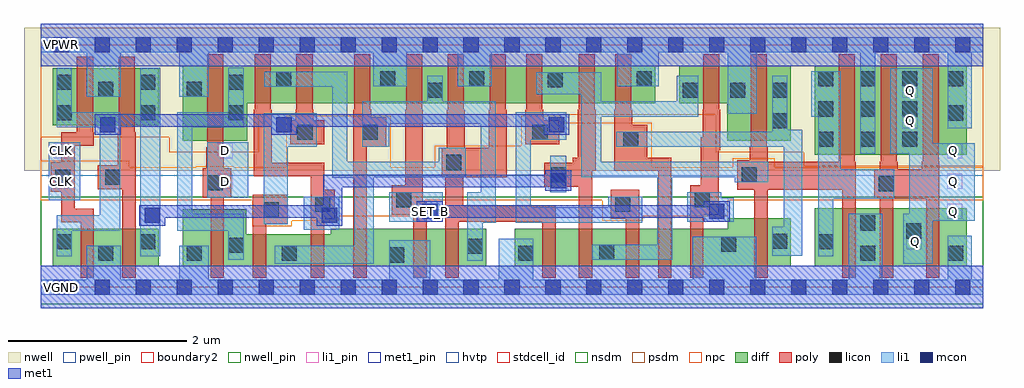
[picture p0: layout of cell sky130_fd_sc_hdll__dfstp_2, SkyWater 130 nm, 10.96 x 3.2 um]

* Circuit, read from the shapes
.subckt sky130_fd_sc_hdll__dfstp_2 CLK D Q SET_B VGND VNB VPB VPWR
XM1 VGND CLK n1 VNB sky130_fd_pr__nfet_01v8 w=0.42 l=0.15
XM2 n2 n1 VGND VNB sky130_fd_pr__nfet_01v8 w=0.42 l=0.15
XM3 n3 D VGND VNB sky130_fd_pr__nfet_01v8 w=0.64 l=0.15
XM4 n4 n1 n3 VNB sky130_fd_pr__nfet_01v8 w=0.36 l=0.15
XM5 n5 n2 n4 VNB sky130_fd_pr__nfet_01v8 w=0.36 l=0.15
XM6 VGND n6 n5 VNB sky130_fd_pr__nfet_01v8 w=0.42 l=0.15
XM7 n7 SET_B VGND VNB sky130_fd_pr__nfet_01v8 w=0.42 l=0.15
XM8 n6 n4 n7 VNB sky130_fd_pr__nfet_01v8 w=0.42 l=0.15
XM9 n8 n4 VGND VNB sky130_fd_pr__nfet_01v8 w=0.42 l=0.15
XM10 n9 n2 n8 VNB sky130_fd_pr__nfet_01v8 w=0.42 l=0.15
XM11 n10 n1 n9 VNB sky130_fd_pr__nfet_01v8 w=0.42 l=0.15
XM12 n11 n12 n10 VNB sky130_fd_pr__nfet_01v8 w=0.42 l=0.15
XM13 VGND SET_B n11 VNB sky130_fd_pr__nfet_01v8 w=0.42 l=0.15
XM14 n12 n9 VGND VNB sky130_fd_pr__nfet_01v8 w=0.54 l=0.15
XM15 VGND n9 n13 VNB sky130_fd_pr__nfet_01v8 w=0.65 l=0.15
XM16 Q n13 VGND VNB sky130_fd_pr__nfet_01v8 w=0.65 l=0.15 m=2
XM17 VPWR CLK n1 VPB sky130_fd_pr__pfet_01v8_hvt w=0.64 l=0.18
XM18 n2 n1 VPWR VPB sky130_fd_pr__pfet_01v8_hvt w=0.64 l=0.18
XM19 n3 D VPWR VPB sky130_fd_pr__pfet_01v8_hvt w=0.84 l=0.18
XM20 n4 n2 n3 VPB sky130_fd_pr__pfet_01v8_hvt w=0.42 l=0.18
XM21 n14 n1 n4 VPB sky130_fd_pr__pfet_01v8_hvt w=0.42 l=0.18
XM22 VPWR n6 n14 VPB sky130_fd_pr__pfet_01v8_hvt w=0.42 l=0.18
XM23 n6 SET_B VPWR VPB sky130_fd_pr__pfet_01v8_hvt w=0.42 l=0.18
XM24 VPWR n4 n6 VPB sky130_fd_pr__pfet_01v8_hvt w=0.42 l=0.18
XM25 n15 n4 VPWR VPB sky130_fd_pr__pfet_01v8_hvt w=0.42 l=0.18
XM26 n9 n1 n15 VPB sky130_fd_pr__pfet_01v8_hvt w=0.42 l=0.18
XM27 n16 n2 n9 VPB sky130_fd_pr__pfet_01v8_hvt w=0.42 l=0.18
XM28 VPWR n12 n16 VPB sky130_fd_pr__pfet_01v8_hvt w=0.42 l=0.18
XM29 VPWR SET_B n9 VPB sky130_fd_pr__pfet_01v8_hvt w=0.42 l=0.18
XM30 n12 n9 VPWR VPB sky130_fd_pr__pfet_01v8_hvt w=0.84 l=0.18
XM31 VPWR n9 n13 VPB sky130_fd_pr__pfet_01v8_hvt w=1 l=0.18
XM32 Q n13 VPWR VPB sky130_fd_pr__pfet_01v8_hvt w=1 l=0.18 m=2
.ends

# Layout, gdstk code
import gdstk
lib = gdstk.Library(unit=1e-6, precision=1e-09)
def R(c, l, rs):  # rectangles x0, y0, x1, y1
    for r in rs: c.add(gdstk.rectangle(r[:2], r[2:], *l))
def A(c, l, x, y, w, h, nx, ny, dx, dy):  # array of equal rectangles
    R(c, l, [(x+i*dx, y+j*dy, x+i*dx+w, y+j*dy+h) for i in range(nx) for j in range(ny)])
def P(c, l, *ps):  # polygons
    for p in ps: c.add(gdstk.Polygon(p, *l))
nwell_pin = (64, 16)
nwell = (64, 20)
diff = (65, 20)
poly = (66, 20)
licon = (66, 44)
li1_pin = (67, 16)
li1 = (67, 20)
mcon = (67, 44)
met1_pin = (68, 16)
met1 = (68, 20)
hvtp = (78, 44)
stdcell_id = (81, 4)
nsdm = (93, 44)
psdm = (94, 20)
npc = (95, 20)
pwell_pin = (122, 16)
boundary2 = (236, 0)

sky130_fd_sc_hdll__dfstp = lib.new_cell('sky130_fd_sc_hdll__dfstp_2')
R(sky130_fd_sc_hdll__dfstp, nwell_pin, [(0.145,2.635,0.315,2.805), (0.145,2.635,0.315,2.805)])
R(sky130_fd_sc_hdll__dfstp, nwell, [(-0.19,1.305,10.77,2.91)])
R(sky130_fd_sc_hdll__dfstp, diff, [(0.135,0.235,1.325,0.655), (8.69,0.235,10.395,0.885), (8.69,1.485,10.395,2.485), (0.135,1.815,1.325,2.455)])
P(sky130_fd_sc_hdll__dfstp, diff, [(8.42,0.775),(7.71,0.775),(7.71,0.655),(5.32,0.655),(5.32,0.235),(8.42,0.235)],
  [(8.42,2.485),(7.17,2.485),(7.17,2.065),(7.705,2.065),(7.705,1.645),(8.42,1.645)],
  [(6.9,2.485),(1.595,2.485),(1.595,1.645),(2.315,1.645),(2.315,2.065),(6.9,2.065)],
  [(5,0.655),(3.255,0.655),(3.255,0.595),(2.305,0.595),(2.305,0.875),(1.595,0.875),(1.595,0.235),(5,0.235)])
P(sky130_fd_sc_hdll__dfstp, poly, [(0.595,1.74),(0.585,1.74),(0.585,2.585),(0.405,2.585),(0.405,1.74),(0.23,1.74),(0.23,1.4),(0.11,1.4),(0.11,1.07),(0.23,1.07),(0.23,0.73),(0.445,0.73),(0.445,0.105),(0.595,0.105),(0.595,0.88),(0.38,0.88),(0.38,1.59),(0.595,1.59)],
  [(1.065,1.74),(1.055,1.74),(1.055,2.585),(0.875,2.585),(0.875,1.74),(0.865,1.74),(0.865,1.37),(0.64,1.37),(0.64,1.1),(0.915,1.1),(0.915,0.105),(1.065,0.105)],
  [(2.14,1.335),(2.055,1.335),(2.055,1.57),(2.045,1.57),(2.045,2.615),(1.865,2.615),(1.865,1.57),(1.855,1.57),(1.855,1.335),(1.82,1.335),(1.82,1.005),(1.905,1.005),(1.905,0.105),(2.055,0.105),(2.055,1.005),(2.14,1.005)],
  [(2.77,1.035),(2.38,1.035),(2.38,0.105),(2.53,0.105),(2.53,0.705),(2.77,0.705)],
  [(3.18,1.875),(3.06,1.875),(3.06,1.99),(3.05,1.99),(3.05,2.615),(2.87,2.615),(2.87,1.99),(2.86,1.99),(2.86,1.875),(2.8,1.875),(2.8,1.605),(3.18,1.605)],
  [(3.3,1.095),(3.18,1.095),(3.18,1.395),(2.59,1.395),(2.59,1.99),(2.58,1.99),(2.58,2.615),(2.4,2.615),(2.4,1.99),(2.39,1.99),(2.39,1.245),(3.03,1.245),(3.03,0.105),(3.18,0.105),(3.18,0.765),(3.3,0.765)],
  [(3.88,1.905),(3.71,1.905),(3.71,1.99),(3.7,1.99),(3.7,2.615),(3.52,2.615),(3.52,1.99),(3.51,1.99),(3.51,0.105),(3.66,0.105),(3.66,1.575),(3.88,1.575)],
  [(4.33,0.965),(4.29,0.965),(4.29,1.99),(4.28,1.99),(4.28,2.615),(4.1,2.615),(4.1,1.99),(4.09,1.99),(4.09,1.145),(3.94,1.145),(3.94,0.815),(4.18,0.815),(4.18,0.105),(4.33,0.105)],
  [(5.78,0.915),(4.74,0.915),(4.74,1.235),(5.23,1.235),(5.23,1.99),(5.22,1.99),(5.22,2.615),(5.04,2.615),(5.04,1.99),(5.03,1.99),(5.03,1.565),(4.76,1.565),(4.76,1.99),(4.75,1.99),(4.75,2.615),(4.57,2.615),(4.57,1.99),(4.56,1.99),(4.56,1.565),(4.5,1.565),(4.5,1.235),(4.54,1.235),(4.54,0.105),(4.69,0.105),(4.69,0.735),(5.63,0.735),(5.63,0.105),(5.78,0.105)],
  [(5.82,1.875),(5.64,1.875),(5.64,1.99),(5.63,1.99),(5.63,2.615),(5.45,2.615),(5.45,1.99),(5.44,1.99),(5.44,1.605),(5.82,1.605)],
  [(6.23,1.99),(6.22,1.99),(6.22,2.615),(6.04,2.615),(6.04,1.99),(6.03,1.99),(6.03,1.455),(5.97,1.455),(5.97,1.395),(5.65,1.395),(5.65,1.125),(6.04,1.125),(6.04,0.105),(6.19,0.105),(6.19,1.305),(6.23,1.305)],
  [(6.72,1.095),(6.4,1.095),(6.4,0.765),(6.57,0.765),(6.57,0.105),(6.72,0.105)],
  [(7.08,1.455),(6.81,1.455),(6.81,1.825),(6.64,1.825),(6.64,1.99),(6.63,1.99),(6.63,2.615),(6.45,2.615),(6.45,1.99),(6.44,1.99),(6.44,1.305),(6.93,1.305),(6.93,0.105),(7.08,0.105)],
  [(7.63,1.99),(7.62,1.99),(7.62,2.615),(7.44,2.615),(7.44,1.99),(7.43,1.99),(7.43,1.685),(7.41,1.685),(7.41,1.145),(7.29,1.145),(7.29,0.105),(7.44,0.105),(7.44,0.815),(7.61,0.815),(7.61,1.535),(7.63,1.535)],
  [(9.15,1.41),(9.14,1.41),(9.14,2.615),(8.96,2.615),(8.96,1.41),(8.16,1.41),(8.16,1.57),(8.15,1.57),(8.15,2.615),(7.97,2.615),(7.97,1.57),(7.96,1.57),(7.96,1.425),(7.82,1.425),(7.82,1.095),(8.01,1.095),(8.01,0.105),(8.16,0.105),(8.16,1.095),(9,1.095),(9,0.105),(9.15,0.105)],
  [(10.09,1.41),(10.08,1.41),(10.08,2.615),(9.9,2.615),(9.9,1.41),(9.89,1.41),(9.89,1.325),(9.62,1.325),(9.62,1.41),(9.61,1.41),(9.61,2.615),(9.43,2.615),(9.43,1.41),(9.42,1.41),(9.42,1.325),(9.36,1.325),(9.36,0.995),(9.42,0.995),(9.42,0.105),(9.57,0.105),(9.57,0.995),(9.94,0.995),(9.94,0.105),(10.09,0.105)])
A(sky130_fd_sc_hdll__dfstp, licon, 8.73, 1.575, 0.17, 0.17, 3, 3, 0.47, 0.34)
R(sky130_fd_sc_hdll__dfstp, licon, [(3.91,0.275,4.08,0.445), (0.645,0.295,0.815,0.465), (1.635,0.295,1.805,0.465), (2.705,0.295,2.875,0.465), (5.36,0.295,5.53,0.465), (9.2,0.295,9.37,0.465), (10.185,0.295,10.355,0.465), (6.27,0.305,6.44,0.475), (4.79,0.375,4.96,0.545), (2.105,0.385,2.275,0.555), (7.64,0.395,7.81,0.565), (0.175,0.425,0.345,0.595), (1.115,0.425,1.285,0.595), (8.73,0.425,8.9,0.595), (8.21,0.43,8.38,0.6), (9.715,0.545,9.885,0.715), (9.2,0.635,9.37,0.805), (2.5,0.785,2.67,0.955), (3.08,0.845,3.25,1.015), (6.45,0.845,6.62,1.015), (3.99,0.895,4.16,1.065), (7.34,0.895,7.51,1.065), (9.41,1.075,9.58,1.245), (1.87,1.085,2.04,1.255), (0.16,1.15,0.33,1.32), (0.72,1.15,0.89,1.32), (5.73,1.175,5.9,1.345), (7.87,1.175,8.04,1.345), (4.55,1.315,4.72,1.485), (6.54,1.575,6.71,1.745), (2.88,1.655,3.05,1.825), (3.61,1.655,3.78,1.825), (5.52,1.655,5.69,1.825), (8.21,1.785,8.38,1.955), (10.185,1.87,10.355,2.04), (0.175,1.875,0.345,2.045), (1.115,1.875,1.285,2.045), (2.105,1.875,2.275,2.045), (4.34,2.125,4.51,2.295), (7.21,2.125,7.38,2.295), (7.74,2.125,7.91,2.295), (8.21,2.125,8.38,2.295), (0.645,2.135,0.815,2.305), (1.635,2.135,1.805,2.305), (0.175,2.215,0.345,2.385), (1.115,2.215,1.285,2.385), (2.105,2.215,2.275,2.385), (5.69,2.245,5.86,2.415), (2.64,2.25,2.81,2.42), (3.81,2.255,3.98,2.425), (4.81,2.255,4.98,2.425), (6.69,2.255,6.86,2.425), (10.185,2.255,10.355,2.425)])
A(sky130_fd_sc_hdll__dfstp, li1_pin, 10.175, 0.765, 0.17, 0.17, 1, 3, 0, 0.34)
R(sky130_fd_sc_hdll__dfstp, li1_pin, [(0.145,-0.085,0.315,0.085), (9.72,0.425,9.89,0.595), (0.145,1.105,0.315,1.275), (1.985,1.105,2.155,1.275), (0.145,1.445,0.315,1.615), (1.985,1.445,2.155,1.615), (9.675,1.785,9.845,1.955), (9.675,2.125,9.845,2.295), (0.145,2.635,0.315,2.805)])
R(sky130_fd_sc_hdll__dfstp, li1, [(1.115,0.345,1.34,2.465), (2.95,0.645,3.35,1.015), (3.91,0.735,4.51,1.065), (0.09,0.975,0.44,1.625), (1.87,1.005,2.33,1.625), (5.72,1.065,5.9,1.475)])
P(sky130_fd_sc_hdll__dfstp, li1, [(9.58,1.325),(8.98,1.325),(8.98,2.425),(8.65,2.425),(8.65,1.915),(8.73,1.915),(8.73,0.345),(8.9,0.345),(8.9,0.995),(9.58,0.995)],
  [(10.485,1.615),(10.015,1.615),(10.015,2.46),(9.54,2.46),(9.54,1.495),(9.75,1.495),(9.75,0.825),(9.685,0.825),(9.685,0.265),(10.015,0.265),(10.015,0.745),(10.485,0.745)],
  [(0.89,1.965),(0.345,1.965),(0.345,2.465),(0.175,2.465),(0.175,1.795),(0.66,1.795),(0.66,0.805),(0.175,0.805),(0.175,0.345),(0.345,0.345),(0.345,0.635),(0.89,0.635)],
  [(8.55,1.765),(8.38,1.765),(8.38,2.375),(8.21,2.375),(8.21,1.745),(6.46,1.745),(6.46,1.575),(8.34,1.575),(8.34,0.68),(8.21,0.68),(8.21,0.35),(8.55,0.35)],
  [(8.17,1.405),(6.29,1.405),(6.29,1.915),(7.38,1.915),(7.38,2.375),(7.14,2.375),(7.14,2.085),(6.29,2.085),(6.29,2.415),(5.56,2.415),(5.56,2.165),(6.07,2.165),(6.07,1.235),(6.92,1.235),(6.92,0.475),(6.19,0.475),(6.19,0.305),(7.09,0.305),(7.09,1.235),(7.79,1.235),(7.79,1.175),(8.17,1.175)],
  [(7.78,1.005),(7.64,1.005),(7.64,1.065),(7.26,1.065),(7.26,0.735),(7.78,0.735)],
  [(6.75,1.015),(6.37,1.015),(6.37,0.895),(5.5,0.895),(5.5,1.655),(5.9,1.655),(5.9,1.965),(5.33,1.965),(5.33,0.725),(6.75,0.725)],
  [(5.11,2.085),(4.51,2.085),(4.51,2.375),(4.34,2.375),(4.34,2.085),(3.61,2.085),(3.61,1.575),(3.91,1.575),(3.91,1.835),(4.94,1.835),(4.94,1.065),(4.79,1.065),(4.79,0.295),(4.96,0.295),(4.96,0.725),(5.11,0.725)],
  [(4.77,1.565),(4.47,1.565),(4.47,1.405),(3.44,1.405),(3.44,2.42),(2.51,2.42),(2.51,2.25),(3.27,2.25),(3.27,1.23),(3.52,1.23),(3.52,0.465),(2.625,0.465),(2.625,0.265),(3.74,0.265),(3.74,1.235),(4.77,1.235)],
  [(3.1,1.955),(2.5,1.955),(2.5,0.705),(2.77,0.705),(2.77,1.575),(3.1,1.575)],
  [(2.275,0.825),(1.7,0.825),(1.7,1.795),(2.275,1.795),(2.275,2.465),(2.105,2.465),(2.105,1.965),(1.53,1.965),(1.53,0.635),(2.105,0.635),(2.105,0.305),(2.275,0.305)],
  [(10.58,0.085),(10.45,0.085),(10.45,0.575),(10.185,0.575),(10.185,0.085),(9.45,0.085),(9.45,0.825),(9.07,0.825),(9.07,0.085),(8.03,0.085),(8.03,0.565),(7.32,0.565),(7.32,0.085),(5.53,0.085),(5.53,0.545),(5.14,0.545),(5.14,0.085),(4.37,0.085),(4.37,0.525),(3.91,0.525),(3.91,0.085),(1.885,0.085),(1.885,0.465),(1.555,0.465),(1.555,0.085),(0.895,0.085),(0.895,0.465),(0.515,0.465),(0.515,0.085),(0,0.085),(0,-0.085),(10.58,-0.085)],
  [(10.58,2.805),(0,2.805),(0,2.635),(0.515,2.635),(0.515,2.135),(0.895,2.135),(0.895,2.635),(1.555,2.635),(1.555,2.135),(1.885,2.135),(1.885,2.635),(3.73,2.635),(3.73,2.255),(4.11,2.255),(4.11,2.635),(4.68,2.635),(4.68,2.255),(5.06,2.255),(5.06,2.635),(6.47,2.635),(6.47,2.255),(6.94,2.255),(6.94,2.635),(7.71,2.635),(7.71,1.945),(8.04,1.945),(8.04,2.635),(9.2,2.635),(9.2,1.495),(9.37,1.495),(9.37,2.635),(10.185,2.635),(10.185,1.785),(10.45,1.785),(10.45,2.635),(10.58,2.635)])
A(sky130_fd_sc_hdll__dfstp, mcon, 0.145, -0.085, 0.17, 0.17, 23, 2, 0.46, 2.72)
R(sky130_fd_sc_hdll__dfstp, mcon, [(1.165,0.72,1.335,0.89), (3.155,0.72,3.325,0.89), (4.28,0.765,4.45,0.935), (7.505,0.765,7.675,0.935), (5.725,1.11,5.895,1.28), (0.665,1.74,0.835,1.91), (2.645,1.74,2.815,1.91), (5.705,1.74,5.875,1.91)])
R(sky130_fd_sc_hdll__dfstp, met1_pin, [(0.145,-0.085,0.315,0.085), (4.285,0.765,4.455,0.935), (0.145,2.635,0.315,2.805)])
R(sky130_fd_sc_hdll__dfstp, met1, [(0,-0.24,10.58,0.24), (0,2.48,10.58,2.96)])
P(sky130_fd_sc_hdll__dfstp, met1, [(7.735,0.965),(7.445,0.965),(7.445,0.92),(4.51,0.92),(4.51,0.965),(4.22,0.965),(4.22,0.735),(4.51,0.735),(4.51,0.78),(7.445,0.78),(7.445,0.735),(7.735,0.735)],
  [(5.935,1.94),(0.605,1.94),(0.605,1.71),(0.895,1.71),(0.895,1.8),(2.585,1.8),(2.585,1.71),(2.875,1.71),(2.875,1.8),(5.645,1.8),(5.645,1.71),(5.935,1.71)],
  [(5.955,1.31),(5.665,1.31),(5.665,1.26),(3.17,1.26),(3.17,0.92),(1.105,0.92),(1.105,0.69),(1.395,0.69),(1.395,0.78),(3.095,0.78),(3.095,0.69),(3.385,0.69),(3.385,1.12),(5.665,1.12),(5.665,1.08),(5.955,1.08)])
R(sky130_fd_sc_hdll__dfstp, hvtp, [(0,1.25,10.58,2.72)])
R(sky130_fd_sc_hdll__dfstp, stdcell_id, [(0,0,10.58,2.72)])
R(sky130_fd_sc_hdll__dfstp, nsdm, [(0,-0.19,10.58,1.015)])
P(sky130_fd_sc_hdll__dfstp, psdm, [(10.58,2.91),(0,2.91),(0,1.685),(1.44,1.685),(1.44,1.515),(2.445,1.515),(2.445,1.935),(7.58,1.935),(7.58,1.515),(8.565,1.515),(8.565,1.355),(10.58,1.355)])
P(sky130_fd_sc_hdll__dfstp, npc, [(10.58,1.345),(8.24,1.345),(8.24,1.445),(7.77,1.445),(7.77,1.345),(6.86,1.345),(6.86,1.845),(5.84,1.845),(5.84,1.925),(5.395,1.925),(5.395,1.585),(4.425,1.585),(4.425,1.345),(3.93,1.345),(3.93,1.925),(2.755,1.925),(2.755,1.345),(2.165,1.345),(2.165,1.355),(1.745,1.355),(1.745,1.345),(0.99,1.345),(0.99,1.42),(0,1.42),(0,0.975),(2.375,0.975),(2.375,0.685),(2.815,0.685),(2.815,0.745),(3.34,0.745),(3.34,0.795),(4.31,0.795),(4.31,0.975),(6.305,0.975),(6.305,0.745),(6.76,0.745),(6.76,0.795),(7.71,0.795),(7.71,0.975),(10.58,0.975)])
R(sky130_fd_sc_hdll__dfstp, pwell_pin, [(0.145,-0.085,0.315,0.085), (0.145,-0.085,0.315,0.085)])
R(sky130_fd_sc_hdll__dfstp, boundary2, [(0,0,10.58,2.72)])
sky130_fd_sc_hdll__dfstp.add(gdstk.Label('Q', (10.25,0.85), layer=67, texttype=5))
sky130_fd_sc_hdll__dfstp.add(gdstk.Label('Q', (10.25,1.53), layer=67, texttype=5))
sky130_fd_sc_hdll__dfstp.add(gdstk.Label('Q', (10.25,1.19), layer=67, texttype=5))
sky130_fd_sc_hdll__dfstp.add(gdstk.Label('Q', (9.765,2.21), layer=67, texttype=5))
sky130_fd_sc_hdll__dfstp.add(gdstk.Label('Q', (9.765,1.87), layer=67, texttype=5))
sky130_fd_sc_hdll__dfstp.add(gdstk.Label('Q', (9.82,0.51), layer=67, texttype=5))
sky130_fd_sc_hdll__dfstp.add(gdstk.Label('VGND', (0.23,0), layer=67, texttype=5))
sky130_fd_sc_hdll__dfstp.add(gdstk.Label('CLK', (0.23,1.19), layer=67, texttype=5))
sky130_fd_sc_hdll__dfstp.add(gdstk.Label('CLK', (0.23,1.53), layer=67, texttype=5))
sky130_fd_sc_hdll__dfstp.add(gdstk.Label('VPWR', (0.23,2.72), layer=67, texttype=5))
sky130_fd_sc_hdll__dfstp.add(gdstk.Label('D', (2.07,1.19), layer=67, texttype=5))
sky130_fd_sc_hdll__dfstp.add(gdstk.Label('D', (2.07,1.53), layer=67, texttype=5))
sky130_fd_sc_hdll__dfstp.add(gdstk.Label('VPB', (0.23,2.72), layer=64, texttype=5))
sky130_fd_sc_hdll__dfstp.add(gdstk.Label('VPB', (0.23,2.72), layer=64, texttype=5))
sky130_fd_sc_hdll__dfstp.add(gdstk.Label('VNB', (0.23,0), layer=64, texttype=59))
sky130_fd_sc_hdll__dfstp.add(gdstk.Label('VNB', (0.23,0), layer=64, texttype=59))
sky130_fd_sc_hdll__dfstp.add(gdstk.Label('SET_B', (4.37,0.85), layer=68, texttype=5))
sky130_fd_sc_hdll__dfstp.add(gdstk.Label('VGND', (0.23,0), layer=68, texttype=5))
sky130_fd_sc_hdll__dfstp.add(gdstk.Label('VPWR', (0.23,2.72), layer=68, texttype=5))
sky130_fd_sc_hdll__dfstp.add(gdstk.Label('dfstp_2', (0,0), layer=83, texttype=44))

lib.write_gds('sky130_fd_sc_hdll__dfstp_2.gds')
